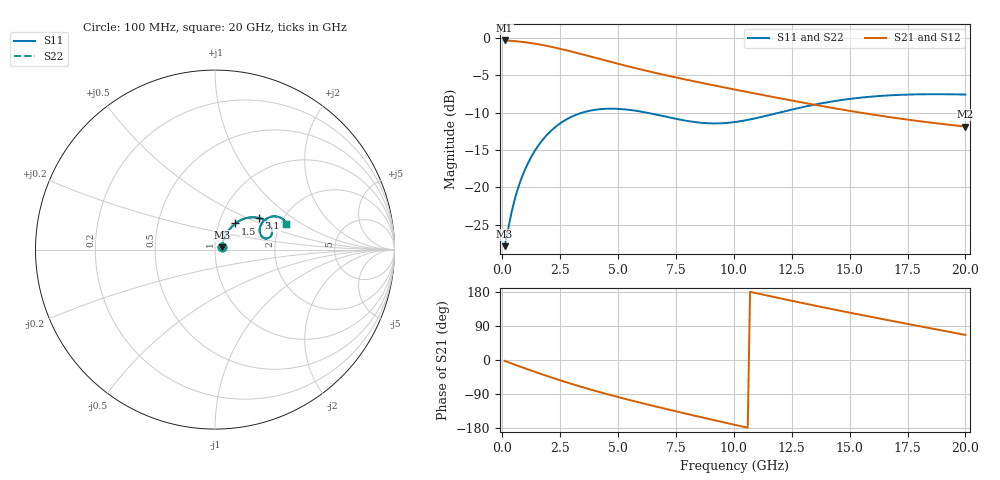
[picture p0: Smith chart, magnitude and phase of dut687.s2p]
! Touchstone file exported from HFSS 2024.1.0
!  File:  C:/UserFiles/LocalFiles/RDL_TSV_Batchsim/temp_RDL_TSV_687_1779818065.aedt
!  Generated:  02:10:45 AM May 27, 2026
!  Design:  RDL_TSV
!  Project:  temp_RDL_TSV_687_1779818065
!  Setup:  Setup1
!  Solution:  Sweep
! Variables:
!  dtsv = 5.7um
!  hbump = 3um
!  htsv = 56.26um
!  ldown = 654.34um
!  lrdl = 691.63um
!  p = 40
!  p1 = 47.85um
!  rhole = 10um
!  subl = 4729.54um
!  t = 450um
!  tdown = 3.3um
!  trdl = 2.27um
!  viad = 10um
!  wdown = 23.01um
!  wrdl = 14.9um
!  xbump = 18um
# GHz S MA R 50.000000
! Terminal data exported
! Port[1] = TM1_1_T1
! Port[2] = TM1_4_T1
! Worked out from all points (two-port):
!   200 points, 100 MHz to 20 GHz, reference 50 ohm
!   highest |S21| = -0.34 dB at 100 MHz (marker M1); lowest = -11.9 dB at 20 GHz (marker M2)
!   |S21| within 3 dB of the highest: start of sweep to 4.85 GHz
!   lowest |S11| = -27.9 dB at 100 MHz (marker M3), VSWR 1.08, Z = 54 + j1.42 ohm
!   |S11| at or under -10 dB: start of sweep to 3.449 GHz; 6.247 GHz to 11.95 GHz (5.704 GHz wide, 62.7 % of centre)
!   |S22| runs from -27.9 to -7.5 dB; largest |S21 - S12| = 1.1e-14
!   S11 on the Smith chart (normalised r, x): 100 MHz: 1.08, +0.03; 1.5 GHz: 1.20, +0.36; 3.1 GHz: 1.51, +0.59; 20 GHz: 2.13, +0.73
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0.1  0.04046 19.0  0.9619 -2.3  0.9619 -2.3  0.04046 19.0
! Gamma 0 0 0 0
! Port Impedance 50 0 50 0
0.4  0.0681 46.7  0.9559 -9.2  0.9559 -9.2  0.0681 46.7
0.7  0.101 53.3  0.9466 -15.9  0.9466 -15.9  0.1011 53.3
1.1  0.1443 54.3  0.9306 -24.6  0.9306 -24.6  0.1443 54.2
1.5  0.1851 52.0  0.9104 -33.2  0.9104 -33.2  0.1851 51.9
1.9  0.2221 48.4  0.8866 -41.6  0.8866 -41.6  0.222 48.3
2.3  0.2542 44.3  0.86 -49.7  0.86 -49.7  0.2541 44.2
3.1  0.3022 35.7  0.8025 -65.1  0.8025 -65.1  0.302 35.5
3.5  0.318 31.6  0.7733 -72.4  0.7733 -72.4  0.3177 31.4
4.2  0.3335 25.0  0.7238 -84.6  0.7238 -84.6  0.3329 24.8
5.1  0.3346 18.3  0.6655 -99.4  0.6655 -99.4  0.3338 18.1
5.9  0.3233 14.2  0.6198 -111.8  0.6198 -111.8  0.3222 14.0
6.8  0.3036 12.1  0.5749 -125.3  0.5749 -125.3  0.3022 12.0
7.6  0.2857 12.7  0.5398 -136.9  0.5398 -136.9  0.284 12.6
8.4  0.2726 15.4  0.5082 -148.3  0.5082 -148.3  0.2708 15.4
10.1  0.2745 24.5  0.4497 -171.9  0.4497 -171.9  0.2729 24.7
11.8  0.3121 30.3  0.3997 165.3  0.3997 165.3  0.311 30.5
13.4  0.3557 30.5  0.3592 144.7  0.3592 144.7  0.355 30.7
15  0.3908 28.1  0.3252 124.9  0.3252 124.9  0.3904 28.3
16.7  0.4128 24.6  0.2958 104.6  0.2958 104.6  0.4125 24.7
18.3  0.4201 21.7  0.2738 85.9  0.2738 85.9  0.4198 21.8
20  0.4183 19.7  0.2554 66.2  0.2554 66.2  0.418 19.8
